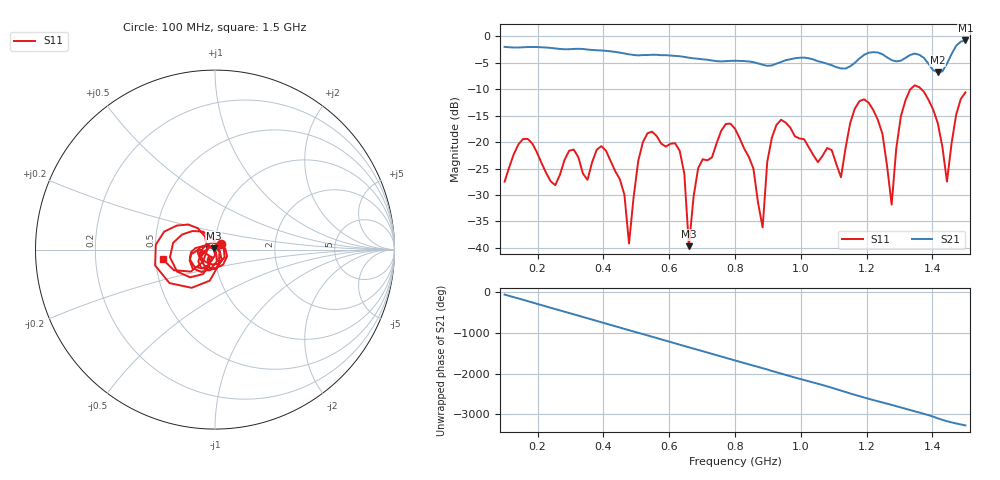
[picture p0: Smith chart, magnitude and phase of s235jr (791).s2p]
! NanoVNA-App
! Date: 2025-09-25 15:10:19
! Start: 100MHz Stop: 1,5GHz Points: 101
! S-Parameter data: F S11 S21 S12 S22
# Hz S RI R 50
!  Frequency  S11_Real  S11_Imag  S21_Real  S21_Imag  S12_Real  S12_Imag  S22_Real  S22_Imag
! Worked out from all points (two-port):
!   101 points, 100 MHz to 1.5 GHz, reference 50 ohm
!   highest |S21| = -0.75 dB at 1.5 GHz (marker M1); lowest = -6.8 dB at 1.416 GHz (marker M2)
!   |S21| within 3 dB of the highest: start of sweep to 633.3 MHz; 1.187 GHz to 1.257 GHz (70.78 MHz wide, 5.79 % of centre) (the widest 2 of 4)
!   lowest |S11| = -39.7 dB at 660 MHz (marker M3), VSWR 1.02, Z = 49.2 + j0.639 ohm
!   |S11| at or under -10 dB: start of sweep to 1.333 GHz; 1.367 GHz to end of sweep
!   S12 and S22 are empty: the file has one direction only
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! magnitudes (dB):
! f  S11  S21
! 100 MHz  -27.5  -2.0
! 156 MHz  -19.4  -2.0
! 338 MHz  -26.0  -2.4
! 408 MHz  -21.6  -2.7
! 478 MHz  -39.2  -3.4
! 520 MHz  -20.0  -3.5
! 576 MHz  -20.3  -3.5
! 632 MHz  -21.6  -3.7
! 660 MHz  -39.7  -4.0
! 688 MHz  -24.9  -4.2
! 800 MHz  -17.4  -4.6
! 884 MHz  -36.1  -5.4
! 926 MHz  -16.7  -5.1
! 1.038 GHz  -22.5  -4.3
! 1.122 GHz  -26.6  -6.0
! 1.192 GHz  -11.9  -3.5
! 1.248 GHz  -18.4  -3.4
! 1.276 GHz  -31.8  -4.5
! 1.332 GHz  -10.0  -3.5
! 1.416 GHz  -16.4  -6.8
! 1.444 GHz  -27.5  -5.1
! 1.5 GHz  -10.6  -0.8
